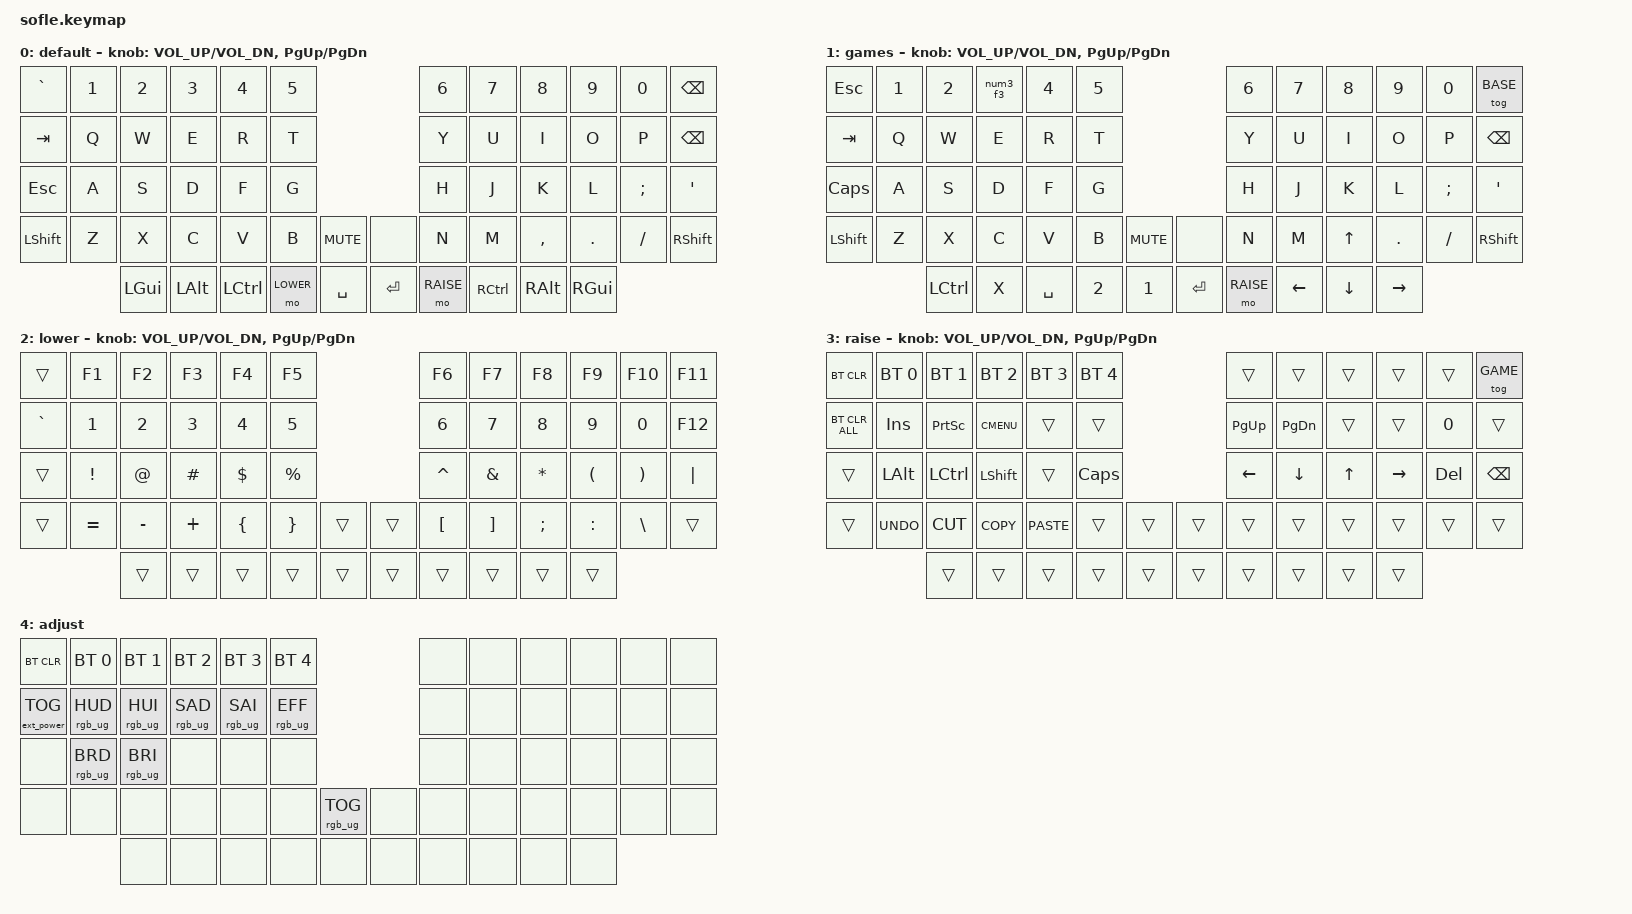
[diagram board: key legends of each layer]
/*
 * Copyright (c) 2020 The ZMK Contributors
 *
 * SPDX-License-Identifier: MIT
 */

#include <behaviors.dtsi>
#include <dt-bindings/zmk/keys.h>
#include <dt-bindings/zmk/bt.h>
#include <dt-bindings/zmk/rgb.h>
#include <dt-bindings/zmk/ext_power.h>

#define BASE 0
#define GAME 1
#define LOWER 2
#define RAISE 3
#define ADJUST 4

/ {

   // Activate ADJUST layer by pressing raise and lower
    conditional_layers {
        compatible = "zmk,conditional-layers";
        adjust_layer {
            if-layers = <LOWER RAISE>;
            then-layer = <ADJUST>;
        };
    };

    behaviours {
        // double tap 3 for f3 for mc
        num3_f3: num3_f3 {
            compatible = "zmk,behavior-tap-dance";
            #binding-cells = <0>;
            tapping-term-ms = <200>;
            bindings = <&kp N3>, <&kp F3>;
        };
    };

    keymap {
        compatible = "zmk,keymap";

        default_layer {
            display-name = "default";
// ------------------------------------------------------------------------------------------------------------
// |   `   |  1  |  2  |  3   |  4   |  5   |                   |  6   |  7    |  8    |  9   |   0   |       |
// |  TAB  |  Q  |  W  |  E   |  R   |  T   |                   |  Y   |  U    |  I    |  O   |   P   | BCKSP |
// |  ESC  |  A  |  S  |  D   |  F   |  G   |                   |  H   |  J    |  K    |  L   |   ;   |   '   |
// | SHIFT |  Z  |  X  |  C   |  V   |  B   |  MUTE  |  |       |  N   |  M    |  ,    |  .   |   /   | SHIFT |
//               | GUI | ALT  | CTRL | LOWER|  SPACE |  | ENTER | RAISE| CTRL  | ALT   | GUI  |
            bindings = <
&kp GRAVE &kp N1 &kp N2   &kp N3   &kp N4    &kp N5                           &kp N6 &kp N7    &kp N8    &kp N9   &kp N0   &kp BSPC
&kp TAB   &kp Q  &kp W    &kp E    &kp R     &kp T                            &kp Y  &kp U     &kp I     &kp O    &kp P    &kp BSPC
&kp ESC   &kp A  &kp S    &kp D    &kp F     &kp G                            &kp H  &kp J     &kp K     &kp L    &kp SEMI &kp SQT
&kp LSHFT &kp Z  &kp X    &kp C    &kp V     &kp B      &kp C_MUTE &none      &kp N  &kp M     &kp COMMA &kp DOT  &kp FSLH &kp RSHFT
                 &kp LGUI &kp LALT &kp LCTRL &mo LOWER  &kp SPACE  &kp RET    &mo RAISE  &kp RCTRL &kp RALT  &kp RGUI
            >;

            sensor-bindings = <&inc_dec_kp C_VOL_UP C_VOL_DN &inc_dec_kp PG_UP PG_DN>;
        };

        gaming_layer {
            display-name = "games";
// ------------------------------------------------------------------------------------------------------------
// |  ESC  |  1  |  2  |  3   |  4   |  5   |                   |  6   |  7    |  8    |  9   |   0   | BASE  |
// |  TAB  |  Q  |  W  |  E   |  R   |  T   |                   |  Y   |  U    |  I    |  O   |   P   | BCKSP |
// | CAPS  |  A  |  S  |  D   |  F   |  G   |                   |  H   |  J    |  K    |  L   |   ;   |   '   |
// | SHIFT |  Z  |  X  |  C   |  V   |  B   |  MUTE  |  |       |  N   |  M    |  UP   |  .   |   /   | SHIFT |
//               | CTRL|  X   | SPACE|  2   |   1    |  | ENTER | RAISE|  LEFT | DOWN  | RIGHT|
            bindings = <
&kp ESC   &kp N1 &kp N2    &num3_f3 &kp N4    &kp N5                           &kp N6     &kp N7    &kp N8    &kp N9   &kp N0   &tog BASE
&kp TAB   &kp Q  &kp W     &kp E    &kp R     &kp T                            &kp Y      &kp U     &kp I     &kp O    &kp P    &kp BSPC
&kp CLCK  &kp A  &kp S     &kp D    &kp F     &kp G                            &kp H      &kp J     &kp K     &kp L    &kp SEMI &kp SQT
&kp LSHFT &kp Z  &kp X     &kp C    &kp V     &kp B      &kp C_MUTE &none      &kp N      &kp M     &kp UP    &kp DOT  &kp FSLH &kp RSHFT
                 &kp LCTRL &kp X    &kp SPACE &kp N2     &kp N1     &kp RET    &mo RAISE  &kp LEFT  &kp DOWN  &kp RIGHT
            >;
            
            sensor-bindings = <&inc_dec_kp C_VOL_UP C_VOL_DN &inc_dec_kp PG_UP PG_DN>;
           
        };

        lower_layer {
            display-name = "lower";
// TODO: Some binds are waiting for shifted keycode support.
// ------------------------------------------------------------------------------------------------------------
// |       |  F1 |  F2 |  F3  |  F4  |  F5  |                   |  F6  |  F7   |  F8   |  F9  |  F10  |  F11  |
// |   `   |  1  |  2  |  3   |  4   |  5   |                   |  6   |  7    |  8    |  9   |   0   |  F12  |
// |       |  !  |  @  |  #   |  $   |  %   |                   |  ^   |  &    |  *    |  (   |   )   |   |   |
// |       |  =  |  -  |  +   |  {   |  }   |        |  |       |  [   |  ]    |  ;    |  :   |   \   |       |
//               |     |      |      |      |        |  |       |      |       |       |      |
            bindings = <
&trans    &kp F1    &kp F2    &kp F3      &kp F4    &kp F5                    &kp F6    &kp F7   &kp F8    &kp F9    &kp F10   &kp F11
&kp GRAVE &kp N1    &kp N2    &kp N3      &kp N4    &kp N5                    &kp N6    &kp N7   &kp N8    &kp N9    &kp N0    &kp F12
&trans    &kp EXCL  &kp AT    &kp HASH    &kp DLLR  &kp PRCNT                 &kp CARET &kp AMPS &kp ASTRK &kp LPAR  &kp RPAR  &kp PIPE
&trans    &kp EQUAL &kp MINUS &kp PLUS &kp LBRC  &kp RBRC   &trans &trans  &kp LBKT  &kp RBKT &kp SEMI  &kp COLON &kp BSLH  &trans
                    &trans    &trans      &trans    &trans     &trans &trans  &trans    &trans   &trans    &trans
            >;

            sensor-bindings = <&inc_dec_kp C_VOL_UP C_VOL_DN &inc_dec_kp PG_UP PG_DN>;
        };

        raise_layer {
            display-name = "raise";
// ------------------------------------------------------------------------------------------------------------
// | BTCLR | BT1  | BT2  |  BT3  |  BT4  |  BT5 |                |      |      |       |      |       | GAME  |
// |BTCLRAL| INS  | PSCR | GUI   |       |      |                | PGUP | PGDN |       |      |       |       |
// |       | ALT  | CTRL | SHIFT |       | CAPS |                |  <-  |   v  |   ^   |  ->  |  DEL  | BKSPC |
// |       | UNDO | CUT  | COPY  | PASTE |      |      |  |      |      |      |       |      |       |       |
//                |      |       |       |      |      |  |      |      |      |       |      |
            bindings = <
&bt BT_CLR     &bt BT_SEL 0 &bt BT_SEL 1 &bt BT_SEL 2 &bt BT_SEL 3 &bt BT_SEL 4                  &trans    &trans    &trans   &trans    &trans  &tog GAME
&bt BT_CLR_ALL &kp INS      &kp PSCRN    &kp K_CMENU  &trans       &trans                        &kp PG_UP &kp PG_DN &trans   &trans    &kp N0  &trans
&trans         &kp LALT     &kp LCTRL    &kp LSHFT    &trans       &kp CLCK                      &kp LEFT  &kp DOWN  &kp UP   &kp RIGHT &kp DEL &kp BSPC
&trans         &kp K_UNDO   &kp K_CUT    &kp K_COPY   &kp K_PASTE  &trans        &trans  &trans  &trans    &trans    &trans   &trans    &trans  &trans
                        &trans       &trans       &trans       &trans        &trans  &trans  &trans    &trans    &trans   &trans
            >;

            sensor-bindings = <&inc_dec_kp C_VOL_UP C_VOL_DN &inc_dec_kp PG_UP PG_DN>;
        };

        adjust_layer {
// ----------------------------------------------------------------------------------------------------------------------------
// | BTCLR  |  BT1    |  BT2    |   BT3   |   BT4   |   BT5   |                  |      |      |       |      |       |       |
// | EXTPWR | RGB_HUD | RGB_HUI | RGB_SAD | RGB_SAI | RGB_EFF |                  |      |      |       |      |       |       |
// |        | RGB_BRD | RGB_BRI |         |         |         |                  |      |      |       |      |       |       |
// |        |         |         |         |         |         | RGB_TOG | |      |      |      |       |      |       |       |
//                    |         |         |         |         |         | |      |      |      |       |      |
            display-name = "adjust";
            bindings = <
&bt BT_CLR        &bt BT_SEL 0    &bt BT_SEL 1    &bt BT_SEL 2    &bt BT_SEL 3    &bt BT_SEL 4                            &none &none &none &none &none &none
&ext_power EP_TOG &rgb_ug RGB_HUD &rgb_ug RGB_HUI &rgb_ug RGB_SAD &rgb_ug RGB_SAI &rgb_ug RGB_EFF                         &none &none &none &none &none &none
&none             &rgb_ug RGB_BRD &rgb_ug RGB_BRI &none           &none           &none                                   &none &none &none &none &none &none
&none             &none           &none           &none           &none           &none            &rgb_ug RGB_TOG &none  &none &none &none &none &none &none
                                  &none           &none           &none           &none            &none           &none  &none &none &none &none
            >;
        };

    };
};
